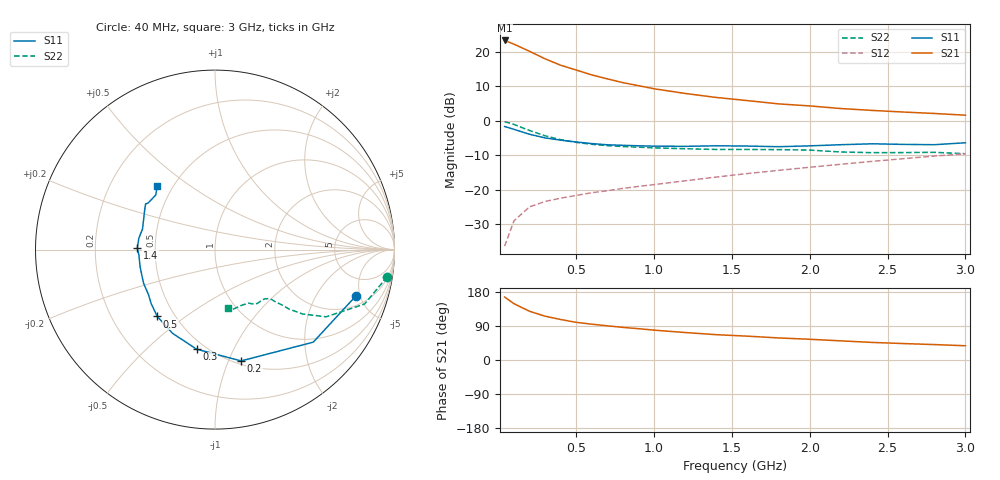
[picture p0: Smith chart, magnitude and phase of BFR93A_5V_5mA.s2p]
! Filename:  BFR93AA.S2P  Version:  2.0
! Philips part #: BFR93A  Date: May 1990
! Bias condition: Vce=5V, Ic=5mA
#  MHz  S  MA  R  50
! Freq  S11  S21  S12  S22  !GUM [dB]
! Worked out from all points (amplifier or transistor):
!   21 points, 40 MHz to 3 GHz, reference 50 ohm
!   highest |S21| = 23.4 dB at 40 MHz (marker M1)
!   |S21| within 3 dB of that: start of sweep to 192.8 MHz
!   unconditionally stable (mu >= 1): 1.032 GHz to 2.386 GHz
!   at 300 MHz: K = 0.48, MSG = 20.8 dB, |S12| = -23.5 dB
!   at 1 GHz: K = 0.99, MSG = 13.9 dB, |S12| = -18.6 dB
!   at 3 GHz: K = 0.95, MSG = 5.6 dB, |S12| = -9.6 dB
!   S11 on the Smith chart (normalised r, x): 40 MHz: 2.83, -4.60; 200 MHz: 0.53, -1.11; 300 MHz: 0.45, -0.73; 500 MHz: 0.40, -0.40; 1.4 GHz: 0.40, +0.01; 3 GHz: 0.41, +0.38
40  0.827 -18.1  14.76 166.3  0.015 78.6  0.972 -8.9
100  0.752 -43.3  13.04 148.6  0.035 68.3  0.887 -20.0
200  0.637 -76.8  10.27 128.6  0.056 56.9  0.723 -31.2
300  0.564 -100.5  7.982 115.6  0.067 52.2  0.606 -36.3
400  0.523 -116.9  6.438 106.9  0.075 51.1  0.531 -38.7
500  0.492 -130.8  5.481 99.4  0.082 51.3  0.485 -39.6
600  0.466 -139.7  4.652 94.5  0.09 52.2  0.455 -40.4
700  0.448 -145.7  4.077 90.2  0.096 54.3  0.435 -41.1
800  0.44 -154.6  3.59 86.1  0.104 56.1  0.422 -41.3
900  0.433 -159.7  3.245 82.6  0.111 58.0  0.414 -41.9
1000  0.428 -167.3  2.927 78.8  0.118 59.3  0.404 -42.5
1200  0.425 -175.6  2.5 72.5  0.134 61.9  0.392 -44.4
1400  0.433 178.5  2.186 66.8  0.152 64.0  0.383 -47.1
1600  0.429 171.6  1.968 62.9  0.171 65.9  0.383 -49.5
1800  0.42 163.9  1.763 58.2  0.19 66.4  0.381 -51.9
2000  0.432 157.0  1.647 54.7  0.211 67.4  0.375 -54.3
2200  0.449 150.8  1.508 50.5  0.233 68.5  0.352 -57.9
2400  0.463 146.6  1.417 46.4  0.257 67.8  0.344 -64.3
2600  0.454 145.2  1.342 43.4  0.281 67.6  0.345 -69.7
2800  0.449 137.3  1.279 40.7  0.307 67.0  0.348 -73.8
3000  0.479 132.2  1.207 37.6  0.331 65.8  0.332 -77.2
